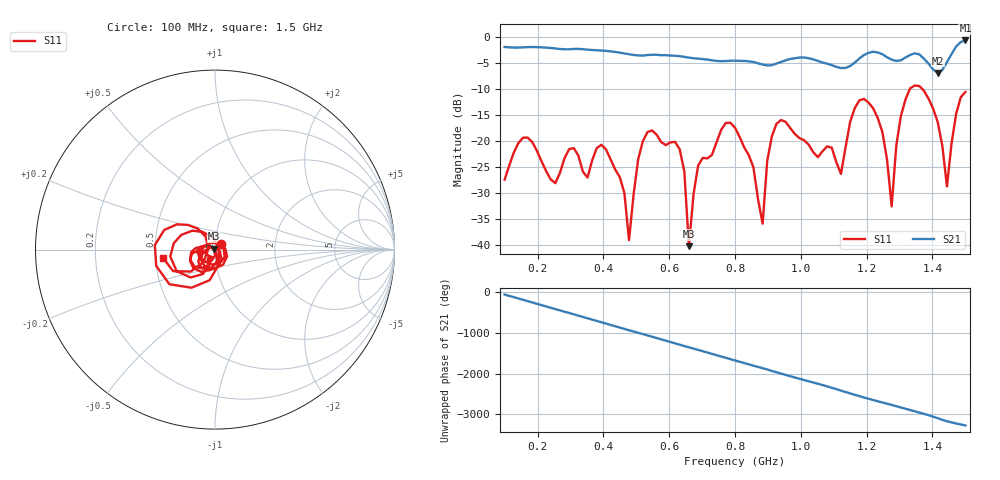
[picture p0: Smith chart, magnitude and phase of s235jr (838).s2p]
! NanoVNA-App
! Date: 2025-09-25 15:10:41
! Start: 100MHz Stop: 1,5GHz Points: 101
! S-Parameter data: F S11 S21 S12 S22
# Hz S RI R 50
!  Frequency  S11_Real  S11_Imag  S21_Real  S21_Imag  S12_Real  S12_Imag  S22_Real  S22_Imag
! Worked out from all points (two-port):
!   101 points, 100 MHz to 1.5 GHz, reference 50 ohm
!   highest |S21| = -0.72 dB at 1.5 GHz (marker M1); lowest = -7.0 dB at 1.416 GHz (marker M2)
!   |S21| within 3 dB of the highest: start of sweep to 627.9 MHz; 1.188 GHz to 1.256 GHz (68.81 MHz wide, 5.63 % of centre) (the widest 2 of 4)
!   lowest |S11| = -40.2 dB at 660 MHz (marker M3), VSWR 1.02, Z = 49.2 + j0.541 ohm
!   |S11| at or under -10 dB: start of sweep to 1.332 GHz; 1.368 GHz to end of sweep
!   S12 and S22 are empty: the file has one direction only
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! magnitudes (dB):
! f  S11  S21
! 100 MHz  -27.5  -2.0
! 156 MHz  -19.4  -2.0
! 338 MHz  -26.0  -2.4
! 408 MHz  -21.6  -2.7
! 478 MHz  -39.1  -3.4
! 520 MHz  -20.1  -3.6
! 576 MHz  -20.3  -3.6
! 632 MHz  -21.6  -3.7
! 660 MHz  -40.2  -4.0
! 688 MHz  -24.7  -4.2
! 800 MHz  -17.5  -4.6
! 884 MHz  -35.9  -5.3
! 926 MHz  -16.7  -5.2
! 1.038 GHz  -22.2  -4.3
! 1.122 GHz  -26.4  -6.0
! 1.192 GHz  -12.0  -3.5
! 1.248 GHz  -18.4  -3.4
! 1.276 GHz  -32.6  -4.4
! 1.332 GHz  -9.9  -3.5
! 1.416 GHz  -16.4  -7.0
! 1.444 GHz  -28.8  -4.9
! 1.5 GHz  -10.6  -0.7
